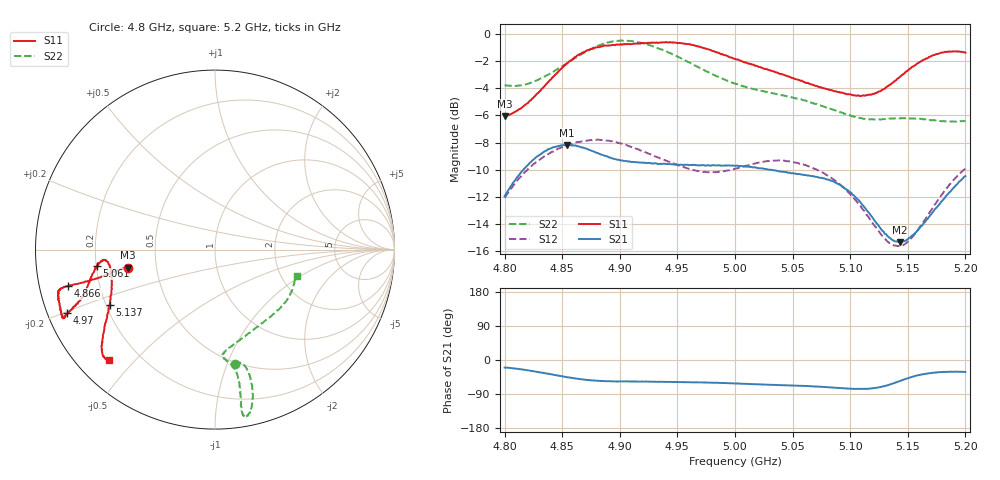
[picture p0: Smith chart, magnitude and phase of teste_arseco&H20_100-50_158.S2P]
! Network Analyzer HP8722D
! Hewlett-Packard
! Data name: Linha & Wilkinson
! Saver's name: Rodrigo Anjos
! Comments: Teste da utilização de aquisição
! continua pelo VNA HP8722D
! Time and date: 6/5/2025 13:53
!  Frequency  S11  S21  S12  S22
# HZ  S  MA R 50
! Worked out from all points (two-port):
!   401 points, 4.8 GHz to 5.2 GHz, reference 50 ohm
!   highest |S21| = -8.17 dB at 4.854 GHz (marker M1); lowest = -15.3 dB at 5.143 GHz (marker M2)
!   |S21| within 3 dB of the highest: 4.806 GHz to 5.092 GHz (286.4 MHz wide, 5.79 % of centre); 5.191416 GHz to end of sweep
!   lowest |S11| = -6.1 dB at 4.8 GHz (marker M3), VSWR 2.98, Z = 16.9 - j4.55 ohm
!   |S11| at or under -10 dB: nowhere
!   |S22| runs from -6.5 to -0.5 dB; largest |S21 - S12| = 0.62
!   S11 on the Smith chart (normalised r, x): 4.8 GHz: 0.34, -0.09; 4.866 GHz: 0.09, -0.12; 4.97 GHz: 0.06, -0.21; 5.061 GHz: 0.20, -0.07; 5.137 GHz: 0.22, -0.23; 5.2 GHz: 0.09, -0.42
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4.8e9  0.4977 -168.3  0.2532 -20.0  0.2495 -141.1  0.6485 -80.2
4.826e9  0.5891 -167.4  0.3475 -29.9  0.3335 -144.8  0.6691 -75.7
4.854e9  0.7777 -166.0  0.3905 -45.3  0.3892 -150.1  0.7786 -74.7
4.866e9  0.8439 -166.1  0.383 -50.6  0.4015 -152.1  0.8376 -75.4
4.867e9  0.8497 -166.1  0.3828 -51.0  0.4022 -152.2  0.8432 -75.5
4.898e9  0.9131 -163.2  0.3447 -56.4  0.3975 -156.6  0.9428 -78.9
4.913e9  0.9195 -160.1  0.3376 -56.7  0.3808 -157.2  0.9359 -80.2
4.934e9  0.9281 -156.7  0.3325 -57.6  0.3506 -155.8  0.8829 -80.5
4.97e9  0.8954 -156.6  0.3292 -59.3  0.3122 -147.1  0.7476 -79.7
5e9  0.8092 -159.1  0.3271 -61.9  0.3193 -137.4  0.6556 -81.4
5.036e9  0.7209 -165.8  0.3143 -66.1  0.3421 -134.6  0.601 -85.7
5.061e9  0.6623 -172.2  0.3029 -68.6  0.3293 -136.5  0.5686 -84.0
5.067e9  0.6508 -173.2  0.2999 -69.3  0.3225 -136.9  0.5563 -82.6
5.087e9  0.6147 -174.6  0.2841 -73.2  0.2881 -138.7  0.5229 -74.7
5.103e9  0.5939 -171.7  0.2551 -76.2  0.2494 -138.8  0.4969 -65.1
5.117e9  0.5972 -165.0  0.2177 -75.5  0.2085 -135.1  0.4848 -55.0
5.134e9  0.6474 -154.3  0.1781 -65.1  0.1702 -120.6  0.488 -43.2
5.137e9  0.6617 -152.5  0.1741 -62.1  0.1679 -116.6  0.4885 -41.5
5.143e9  0.6939 -149.4  0.1716 -55.7  0.1662 -108.7  0.4885 -38.0
5.154e9  0.7573 -144.5  0.1817 -44.2  0.1793 -95.0  0.4887 -32.3
5.173e9  0.8358 -139.1  0.2251 -33.3  0.2342 -80.9  0.4814 -24.3
5.2e9  0.8527 -133.8  0.2998 -31.5  0.3194 -77.1  0.4776 -17.6
